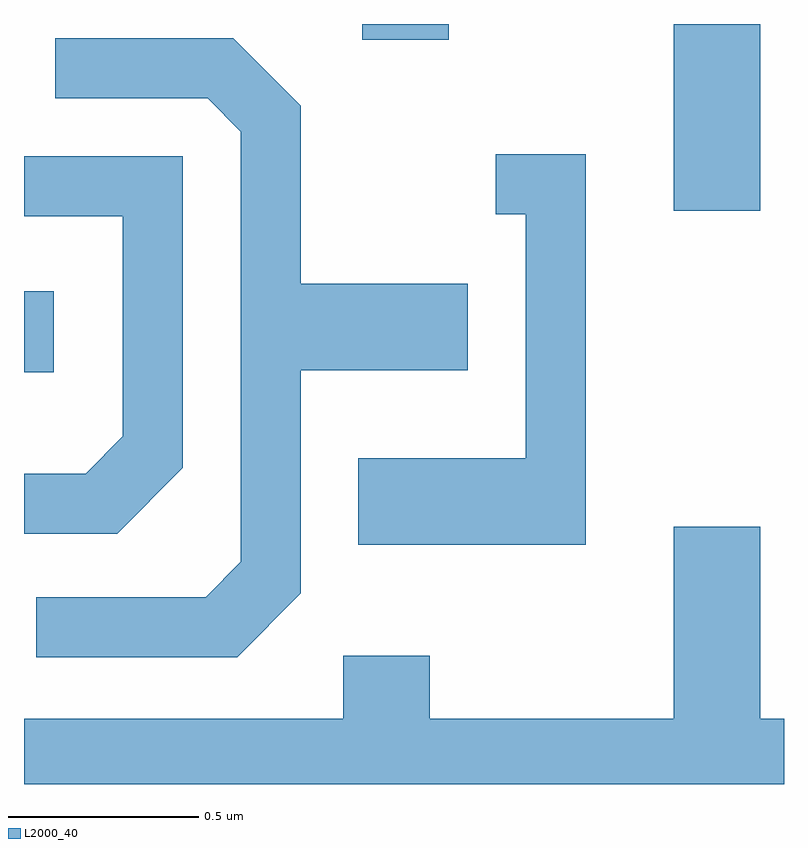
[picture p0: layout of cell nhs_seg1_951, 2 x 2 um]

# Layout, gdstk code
import gdstk
lib = gdstk.Library(unit=1e-6, precision=1e-09)
def R(c, l, rs):  # rectangles x0, y0, x1, y1
    for r in rs: c.add(gdstk.rectangle(r[:2], r[2:], *l))
def P(c, l, *ps):  # polygons
    for p in ps: c.add(gdstk.Polygon(p, *l))
L2000_40 = (2000, 40)

nhs_seg1_951 = lib.new_cell('nhs_seg1_951')
R(nhs_seg1_951, L2000_40, [(191.611,971.796,191.689,972.009), (193.321,972.221,193.549,972.712), (192.501,972.671,192.729,972.712)])
P(nhs_seg1_951, L2000_40, [(192.339,971.214),(192.339,971.801),(192.779,971.801),(192.779,972.029),(192.339,972.029),(192.339,972.497),(192.162,972.674),(191.693,972.674),(191.693,972.516),(192.094,972.516),(192.181,972.429),(192.181,971.297),(192.089,971.204),(191.643,971.204),(191.643,971.046),(192.172,971.046)],
  [(193.089,972.369),(192.853,972.369),(192.853,972.211),(192.931,972.211),(192.931,971.569),(192.491,971.569),(192.491,971.341),(193.089,971.341)],
  [(192.029,971.544),(192.029,972.364),(191.611,972.364),(191.611,972.206),(191.871,972.206),(191.871,971.627),(191.774,971.529),(191.611,971.529),(191.611,971.371),(191.857,971.371)],
  [(193.611,970.884),(193.549,970.884),(193.549,971.389),(193.321,971.389),(193.321,970.884),(192.679,970.884),(192.679,971.049),(192.451,971.049),(192.451,970.884),(191.611,970.884),(191.611,970.712),(193.611,970.712)])

lib.write_gds('nhs_seg1_951.gds')
